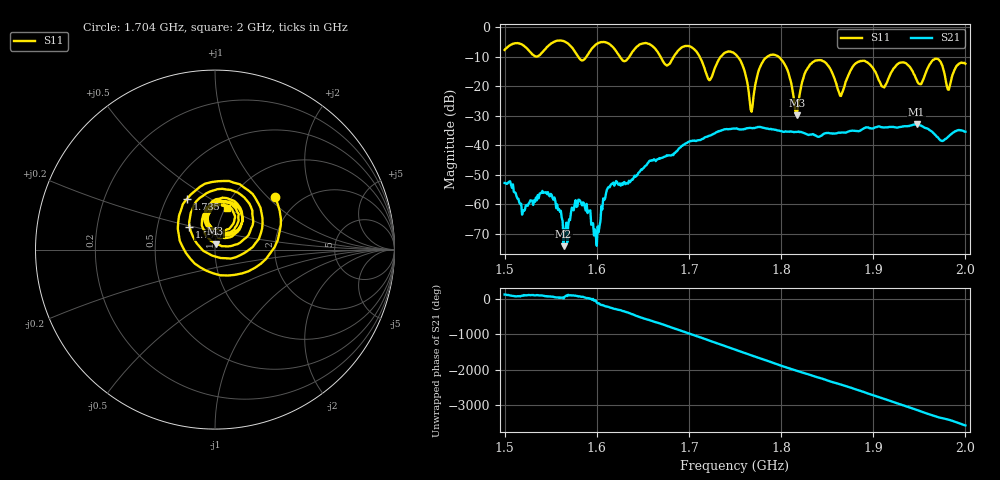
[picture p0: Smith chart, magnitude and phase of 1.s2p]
! NanoVNA-App by SYSJOINT et al v1.1.209 (+OD18)
! Date: 2026-01-21 14:44:39
! Start: 1,5GHz Stop: 2GHz Points: 501
! S-Parameter data: F S11 S21 S12 S22
# Hz S RI R 50
!  Frequency  S11_Real  S11_Imag  S21_Real  S21_Imag  S12_Real  S12_Imag  S22_Real  S22_Imag
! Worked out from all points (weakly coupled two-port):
!   501 points, 1.5 GHz to 2 GHz, reference 50 ohm
!   highest |S21| = -32.88 dB at 1.947 GHz (marker M1); lowest = -74.1 dB at 1.564 GHz (marker M2)
!   lowest |S11| = -29.8 dB at 1.817 GHz (marker M3), VSWR 1.07, Z = 50.2 + j3.25 ohm
!   |S11| at or under -10 dB: 1.712 GHz to 1.734 GHz (22.78 MHz wide, 1.32 % of centre); 1.753 GHz to 1.785 GHz (31.84 MHz wide, 1.8 % of centre); 1.797 GHz to end of sweep (the widest 3 of 6)
!   S12 and S22 are empty: the file has one direction only
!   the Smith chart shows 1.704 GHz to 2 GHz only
!   S11 on the Smith chart (normalised r, x): 1.704 GHz: 1.52, +1.11; 1.735 GHz: 0.63, +0.40; 1.776 GHz: 0.73, +0.19; 2 GHz: 1.02, +0.50
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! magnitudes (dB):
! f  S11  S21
! 1.5 GHz  -7.7  -52.7
! 1.521 GHz  -6.3  -62.2
! 1.549 GHz  -5.9  -57.2
! 1.564 GHz  -4.7  -74.1
! 1.584 GHz  -11.2  -60.3
! 1.599 GHz  -5.8  -70.8
! 1.614 GHz  -5.8  -54.2
! 1.667 GHz  -8.8  -44.6
! 1.704 GHz  -7.0  -38.4
! 1.722 GHz  -17.9  -36.7
! 1.735 GHz  -9.8  -35.0
! 1.75 GHz  -9.0  -34.3
! 1.768 GHz  -28.6  -34.1
! 1.776 GHz  -14.4  -33.8
! 1.799 GHz  -10.4  -35.1
! 1.817 GHz  -29.8  -35.4
! 1.834 GHz  -11.9  -36.2
! 1.864 GHz  -23.2  -35.7
! 1.885 GHz  -11.6  -35.1
! 1.917 GHz  -17.0  -33.8
! 1.947 GHz  -17.8  -32.9
! 2 GHz  -12.3  -35.4
